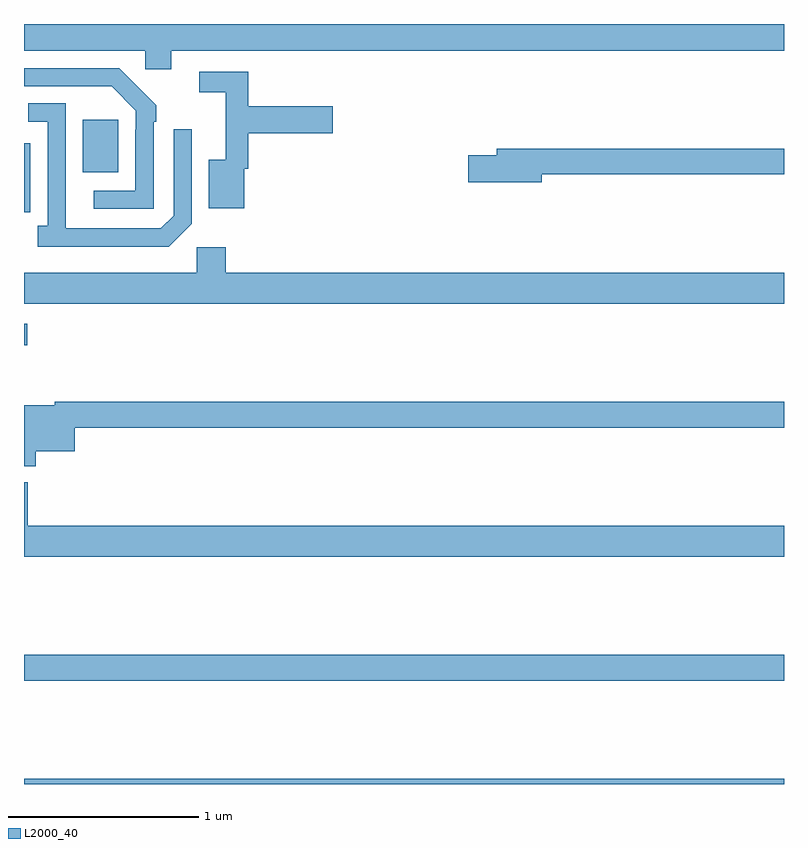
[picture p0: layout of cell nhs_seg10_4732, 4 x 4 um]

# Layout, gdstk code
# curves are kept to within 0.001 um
import gdstk
lib = gdstk.Library(unit=1e-6, precision=1e-09)
def R(c, l, rs):  # rectangles x0, y0, x1, y1
    for r in rs: c.add(gdstk.rectangle(r[:2], r[2:], *l))
def P(c, l, *ps):  # polygons
    for p in ps: c.add(gdstk.Polygon(p, *l))
L2000_40 = (2000, 40)

nhs_seg10_4732 = lib.new_cell('nhs_seg10_4732')
R(nhs_seg10_4732, L2000_40, [(383,1252.5,387,1252.528), (383,1253.044,387,1253.18), (383,1254.809,383.018,1254.922), (383.309,1255.721,383.497,1255.996)])
P(nhs_seg10_4732, L2000_40, [(383,1256.36),(383.637,1256.36),(383.637,1256.262),(383.776,1256.262),(383.776,1256.36),(387,1256.36),(387,1256.5),(383,1256.5)],
  [(383.682,1255.985),(383.697,1255.985),(383.697,1256.073),(383.5,1256.268),(383,1256.268),(383,1256.172),(383.461,1256.172),(383.589,1256.043),(383.589,1255.943),(383.586,1255.943),(383.586,1255.623),(383.367,1255.623),(383.367,1255.527),(383.682,1255.527)],
  [(384.16,1255.737),(384.179,1255.737),(384.179,1255.925),(384.625,1255.925),(384.625,1256.067),(384.179,1256.067),(384.179,1256.25),(383.922,1256.25),(383.922,1256.142),(384.062,1256.142),(384.062,1255.786),(383.972,1255.786),(383.972,1255.529),(384.16,1255.529)],
  [(383.883,1255.449),(383.883,1255.945),(383.787,1255.945),(383.787,1255.491),(383.721,1255.425),(383.221,1255.425),(383.22,1256.082),(383.022,1256.082),(383.022,1255.986),(383.124,1255.986),(383.124,1255.438),(383.073,1255.438),(383.073,1255.328),(383.762,1255.328)],
  [(383.033,1255.618),(383.034,1255.618),(383.034,1255.873),(383,1255.873),(383,1255.509),(383.033,1255.509)],
  [(385.726,1255.708),(387,1255.708),(387,1255.844),(385.487,1255.844),(385.487,1255.808),(385.338,1255.808),(385.338,1255.666),(385.726,1255.666)],
  [(387,1255.192),(384.062,1255.192),(384.062,1255.324),(383.91,1255.324),(383.91,1255.192),(383,1255.192),(383,1255.028),(387,1255.028)],
  [(383.063,1254.251),(383.266,1254.251),(383.266,1254.376),(387,1254.376),(387,1254.512),(383.162,1254.512),(383.162,1254.493),(383,1254.493),(383,1254.173),(383.063,1254.173)],
  [(387,1253.86),(383.021,1253.86),(383.021,1254.088),(383,1254.088),(383,1253.696),(387,1253.696)])

lib.write_gds('nhs_seg10_4732.gds')
